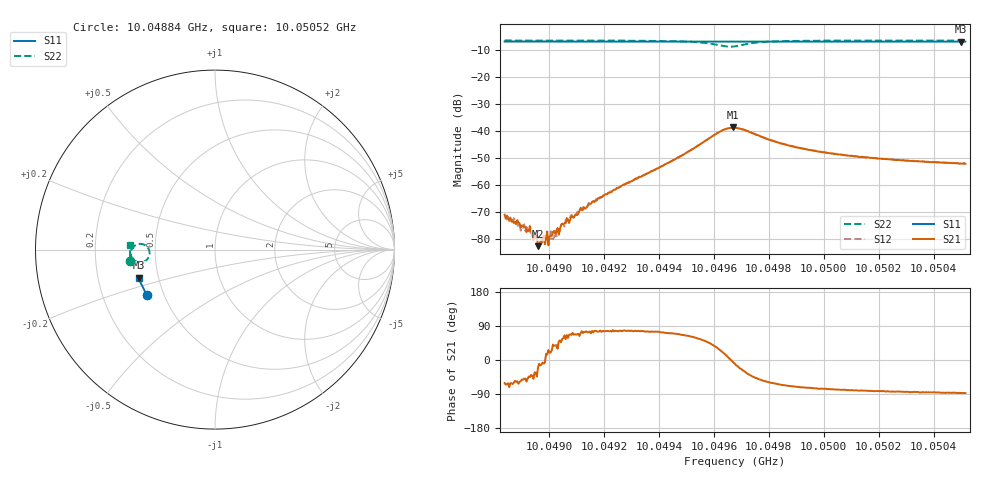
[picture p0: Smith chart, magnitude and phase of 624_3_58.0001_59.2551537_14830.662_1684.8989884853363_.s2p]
#  HZ  S  RI  R  50.00
! Rohde & Schwarz Vector Network Analyzer
! Rohde-Schwarz,ZNB20-2Port,1311601062101988,3.16
! Created: UTC 3/21/2024, 1:18:16 AM
! freq[Hz]  re:S11  im:S11  re:S21  im:S21  re:S12  im:S12  re:S22  im:S22
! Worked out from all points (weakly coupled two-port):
!   401 points, 10.04884 GHz to 10.05052 GHz, reference 50 ohm
!   highest |S21| = -38.67 dB at 10.04967 GHz (marker M1); lowest = -82.6 dB at 10.04896 GHz (marker M2)
!   lowest |S11| = -6.9 dB at 10.0505 GHz (marker M3), VSWR 2.65, Z = 19.4 - j7.63 ohm
!   |S11| at or under -10 dB: nowhere
!   |S22| runs from -8.8 to -6.4 dB; largest |S21 - S12| = 0.001
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1.0048838e10  -0.3776 -0.2544  0.000138 -0.000246  0.000121 -0.000231  -0.4723 -0.0616
1.0048868e10  -0.3786 -0.2528  9.81e-05 -0.000195  0.000112 -0.000184  -0.4724 -0.0592
1.0048897e10  -0.3797 -0.2511  9.13e-05 -0.000134  8.89e-05 -0.000112  -0.4724 -0.057
1.0048918e10  -0.3804 -0.2501  7.34e-05 -0.000113  8.98e-05 -0.00014  -0.4727 -0.0552
1.0048947e10  -0.3814 -0.2481  0.000109 -7.07e-05  8.26e-05 -6.66e-05  -0.4729 -0.0529
1.004896e10  -0.3818 -0.2476  6.95e-05 -2.48e-05  9.76e-05 -4.81e-05  -0.4728 -0.0518
1.0048981e10  -0.3825 -0.2463  0.000116 -1.92e-05  9.77e-05 -1.07e-05  -0.4729 -0.0501
1.0049019e10  -0.3839 -0.2442  0.000112 8.66e-05  8.79e-05 6e-05  -0.473 -0.0468
1.0049031e10  -0.3842 -0.2436  0.000139 7.94e-05  9.04e-05 0.000109  -0.4728 -0.0457
1.0049052e10  -0.385 -0.2423  9.94e-05 0.000157  0.000131 0.000135  -0.473 -0.0439
1.0049098e10  -0.3865 -0.2396  0.000113 0.000264  8.65e-05 0.000265  -0.473 -0.0398
1.0049119e10  -0.3871 -0.2384  8.43e-05 0.000336  7.87e-05 0.000364  -0.4729 -0.0379
1.0049274e10  -0.3922 -0.2296  0.000204 0.000993  0.000188 0.00103  -0.4714 -0.0216
1.00494e10  -0.3961 -0.2221  0.00056 0.00202  0.000474 0.00205  -0.4667 -0.00397
1.0049618e10  -0.402 -0.2089  0.00838 0.00457  0.00803 0.00511  -0.3886 0.0239
1.0049669e10  -0.4028 -0.2065  0.0116 -0.00097  0.0116 -7.6e-05  -0.3655 -0.0294
1.0049677e10  -0.403 -0.2063  0.0114 -0.00207  0.0115 -0.00125  -0.3687 -0.0399
1.0049782e10  -0.4066 -0.2005  0.00433 -0.00616  0.00479 -0.00591  -0.4425 -0.0642
1.0049958e10  -0.4117 -0.1898  0.00123 -0.00419  0.00144 -0.00416  -0.47 -0.0291
1.0050239e10  -0.4187 -0.1728  0.000348 -0.00299  0.000524 -0.00299  -0.4751 0.00245
1.0050499e10  -0.4244 -0.1566  0.000124 -0.0025  0.000279 -0.0025  -0.4751 0.0241
1.0050515e10  -0.4249 -0.1556  0.000119 -0.00247  0.000283 -0.00247  -0.4751 0.0256
